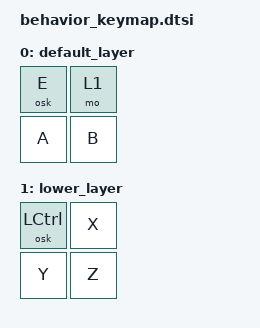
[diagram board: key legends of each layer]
#include <dt-bindings/zmk/keys.h>
#include <behaviors.dtsi>
#include <dt-bindings/zmk/kscan-mock.h>

/ {
	keymap {
		compatible = "zmk,keymap";
		label ="Default keymap";

		default_layer {
			bindings = <
				&osk E &mo 1
				&kp A &kp B>;
		};

		lower_layer {
			bindings = <
				&osk LCTL &kp X
				&kp Y  &kp Z>;
		};
	};
};
